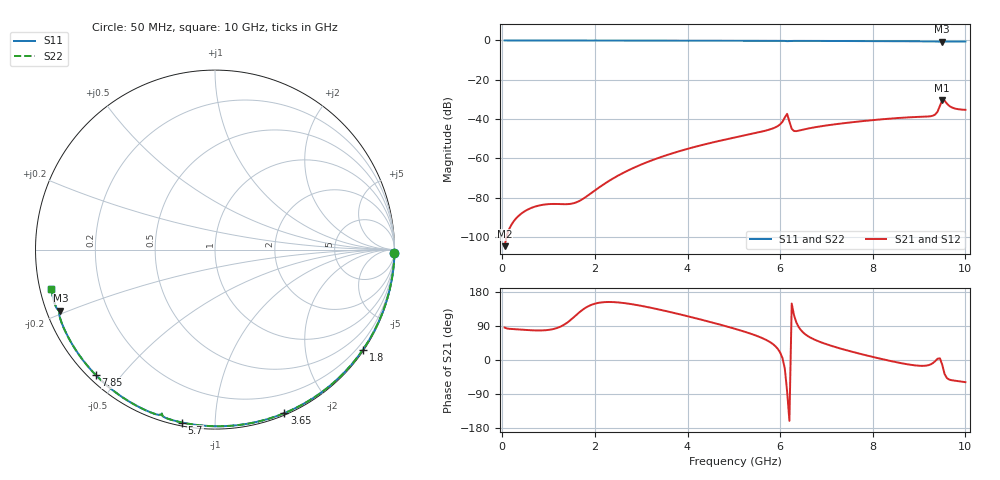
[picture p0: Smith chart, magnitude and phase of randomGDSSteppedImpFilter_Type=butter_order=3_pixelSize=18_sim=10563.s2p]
! freq	dB(S11)	phase(S11)	dB(S12)	phase(S12)
!  dB(S21)	phase(S21)	dB(S22)	phase(S22)
!S-par simulation data
#  GHz  S  DB  R 50
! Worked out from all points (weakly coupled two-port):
!   200 points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, 50 MHz to 10 GHz, reference 50 ohm
!   highest |S21| = -30.39 dB at 9.5 GHz (marker M1); lowest = -104.7 dB at 50 MHz (marker M2)
!   lowest |S11| = -0.7 dB at 9.5 GHz (marker M3), VSWR 26.24, Z = 1.97 - j9.5 ohm
!   |S11| at or under -10 dB: nowhere
!   |S22| runs from -0.7 to 0.0 dB; largest |S21 - S12| = 0
!   S11 on the Smith chart (normalised r, x): 50 MHz: open; 1.8 GHz: 0.03, -3.27; 3.65 GHz: 0.02, -1.51; 5.7 GHz: 0.02, -0.83; 7.85 GHz: 0.02, -0.43; 10 GHz: 0.03, -0.12
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0.05  -0.00 -1.0  -104.70 85.6  -104.70 85.6  -0.00 -1.0
0.85  -0.02 -16.3  -83.72 78.0  -83.72 78.0  -0.02 -16.3
1.75  -0.04 -33.1  -80.51 133.9  -80.51 133.9  -0.04 -33.1
1.8  -0.04 -34.0  -79.73 138.0  -79.73 138.0  -0.04 -34.0
2.55  -0.06 -47.7  -68.15 151.4  -68.15 151.4  -0.06 -47.7
3.4  -0.08 -62.7  -59.56 132.8  -59.56 132.8  -0.08 -62.7
3.65  -0.09 -67.0  -57.61 125.9  -57.61 125.9  -0.09 -67.0
5.05  -0.14 -90.4  -49.23 81.4  -49.23 81.4  -0.14 -90.4
5.7  -0.17 -100.8  -45.81 52.8  -45.81 52.8  -0.17 -100.8
6  -0.19 -105.7  -42.68 19.7  -42.68 19.7  -0.19 -105.7
6.15  -0.35 -108.0  -37.34 -82.4  -37.34 -82.4  -0.35 -108.0
6.25  -0.24 -108.8  -45.01 149.0  -45.01 149.0  -0.24 -108.8
6.3  -0.22 -109.7  -46.10 117.9  -46.10 117.9  -0.22 -109.7
6.7  -0.23 -116.1  -44.39 56.3  -44.39 56.3  -0.23 -116.1
7.85  -0.32 -133.6  -40.89 12.5  -40.89 12.5  -0.32 -133.6
8.35  -0.37 -141.2  -39.82 -1.7  -39.82 -1.7  -0.37 -141.2
9.3  -0.50 -155.9  -38.29 -8.0  -38.29 -8.0  -0.50 -155.9
9.4  -0.55 -157.6  -36.20 3.5  -36.20 3.5  -0.55 -157.6
9.5  -0.66 -158.5  -30.39 -12.7  -30.39 -12.7  -0.66 -158.4
9.55  -0.58 -158.8  -30.61 -36.7  -30.61 -36.7  -0.58 -158.8
9.7  -0.52 -161.5  -34.01 -53.3  -34.01 -53.3  -0.52 -161.5
10  -0.55 -166.5  -35.31 -58.5  -35.31 -58.5  -0.55 -166.5
